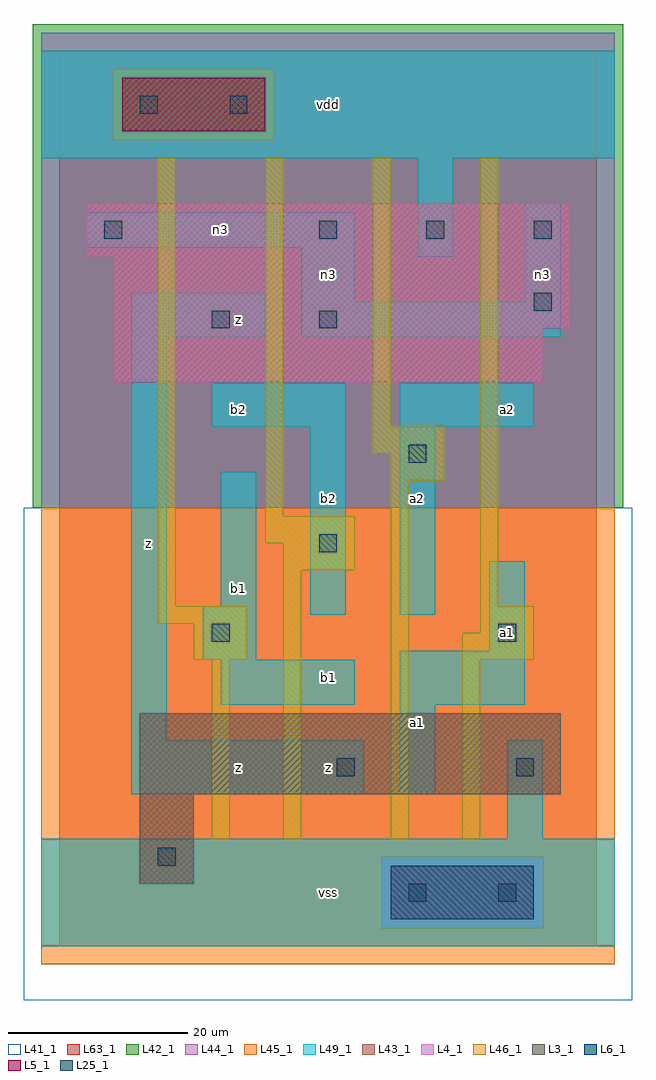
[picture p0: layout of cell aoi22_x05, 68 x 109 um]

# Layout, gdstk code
import gdstk
lib = gdstk.Library(unit=1e-6, precision=1e-09)
def R(c, l, rs):  # rectangles x0, y0, x1, y1
    for r in rs: c.add(gdstk.rectangle(r[:2], r[2:], *l))
def A(c, l, x, y, w, h, nx, ny, dx, dy):  # array of equal rectangles
    R(c, l, [(x+i*dx, y+j*dy, x+i*dx+w, y+j*dy+h) for i in range(nx) for j in range(ny)])
L3_1 = (3, 1)
L4_1 = (4, 1)
L5_1 = (5, 1)
L6_1 = (6, 1)
L25_1 = (25, 1)
L41_1 = (41, 1)
L42_1 = (42, 1)
L43_1 = (43, 1)
L44_1 = (44, 1)
L45_1 = (45, 1)
L46_1 = (46, 1)
L49_1 = (49, 1)
L63_1 = (63, 1)

aoi22_x05 = lib.new_cell('aoi22_x05')
R(aoi22_x05, L3_1, [(9,7,15,17), (9,17,56,26)])
R(aoi22_x05, L4_1, [(6,63,54,69), (6,69,57,77), (3,77,57,83)])
R(aoi22_x05, L5_1, [(7,91,23,97)])
R(aoi22_x05, L6_1, [(37,3,53,9)])
A(aoi22_x05, L25_1, 29, 79, 2, 2, 3, 1, 12, 0)
R(aoi22_x05, L25_1, [(39,5,41,7), (49,5,51,7), (11,9,13,11), (31,19,33,21), (51,19,53,21), (17,34,19,36), (49,34,51,36), (29,44,31,46), (39,54,41,56), (17,69,19,71), (29,69,31,71), (53,71,55,73), (5,79,7,81), (9,93,11,95), (19,93,21,95)])
R(aoi22_x05, L41_1, [(-4,-6,64,49), (-3,-3,63,49)])
R(aoi22_x05, L42_1, [(-3,49,63,103)])
R(aoi22_x05, L43_1, [(37,3,53,9), (9,7,15,17), (9,17,56,26), (6,63,54,69), (6,69,57,77), (3,77,57,83), (7,91,23,97)])
R(aoi22_x05, L44_1, [(36,2,54,10), (-2,49,62,90), (-2,90,6,98), (24,90,62,98), (-2,98,62,102)])
R(aoi22_x05, L45_1, [(-2,-2,62,2), (-2,2,36,10), (54,2,62,10), (-2,10,62,49), (6,90,24,98)])
R(aoi22_x05, L46_1, [(17,12,19,32), (25,12,27,42), (37,12,39,52), (45,12,47,32), (15,32,21,36), (45,32,53,35), (47,35,53,38), (11,36,21,38), (11,38,13,88), (47,38,49,88), (25,42,33,45), (23,45,33,48), (23,48,25,88), (37,52,43,55), (35,55,43,58), (35,58,37,88)])
R(aoi22_x05, L49_1, [(-2,0,62,12), (50,12,54,23), (8,17,34,23), (38,17,42,27), (8,23,12,68), (18,27,33,32), (38,27,52,33), (16,32,22,38), (48,33,52,43), (28,37,32,58), (38,37,42,58), (18,38,22,53), (17,58,32,63), (38,58,53,63), (8,68,23,73), (27,68,56,72), (27,72,33,78), (52,72,56,83), (40,77,44,88), (3,78,33,82), (-2,88,62,100)])
R(aoi22_x05, L63_1, [(0,0,60,100)])
aoi22_x05.add(gdstk.Label('z', (20,20), layer=49, texttype=1))
aoi22_x05.add(gdstk.Label('z', (20,20), layer=49, texttype=1))
aoi22_x05.add(gdstk.Label('b1', (20,40), layer=49, texttype=1))
aoi22_x05.add(gdstk.Label('b1', (20,40), layer=49, texttype=1))
aoi22_x05.add(gdstk.Label('z', (10,45), layer=49, texttype=1))
aoi22_x05.add(gdstk.Label('z', (10,45), layer=49, texttype=1))
aoi22_x05.add(gdstk.Label('b2', (20,60), layer=49, texttype=1))
aoi22_x05.add(gdstk.Label('b2', (20,60), layer=49, texttype=1))
aoi22_x05.add(gdstk.Label('z', (20,70), layer=49, texttype=1))
aoi22_x05.add(gdstk.Label('z', (20,70), layer=49, texttype=1))
aoi22_x05.add(gdstk.Label('vss', (30,6), layer=49, texttype=1))
aoi22_x05.add(gdstk.Label('vss', (30,6), layer=49, texttype=1))
aoi22_x05.add(gdstk.Label('z', (30,20), layer=49, texttype=1))
aoi22_x05.add(gdstk.Label('z', (30,20), layer=49, texttype=1))
aoi22_x05.add(gdstk.Label('b1', (30,30), layer=49, texttype=1))
aoi22_x05.add(gdstk.Label('b1', (30,30), layer=49, texttype=1))
aoi22_x05.add(gdstk.Label('b2', (30,50), layer=49, texttype=1))
aoi22_x05.add(gdstk.Label('b2', (30,50), layer=49, texttype=1))
aoi22_x05.add(gdstk.Label('n3', (30,75), layer=49, texttype=1))
aoi22_x05.add(gdstk.Label('n3', (18,80), layer=49, texttype=1))
aoi22_x05.add(gdstk.Label('vdd', (30,94), layer=49, texttype=1))
aoi22_x05.add(gdstk.Label('vdd', (30,94), layer=49, texttype=1))
aoi22_x05.add(gdstk.Label('a1', (40,25), layer=49, texttype=1))
aoi22_x05.add(gdstk.Label('a1', (40,25), layer=49, texttype=1))
aoi22_x05.add(gdstk.Label('a2', (40,50), layer=49, texttype=1))
aoi22_x05.add(gdstk.Label('a2', (40,50), layer=49, texttype=1))
aoi22_x05.add(gdstk.Label('a1', (50,35), layer=49, texttype=1))
aoi22_x05.add(gdstk.Label('a1', (50,35), layer=49, texttype=1))
aoi22_x05.add(gdstk.Label('a2', (50,60), layer=49, texttype=1))
aoi22_x05.add(gdstk.Label('a2', (50,60), layer=49, texttype=1))
aoi22_x05.add(gdstk.Label('n3', (54,75), layer=49, texttype=1))

lib.write_gds('aoi22_x05.gds')
